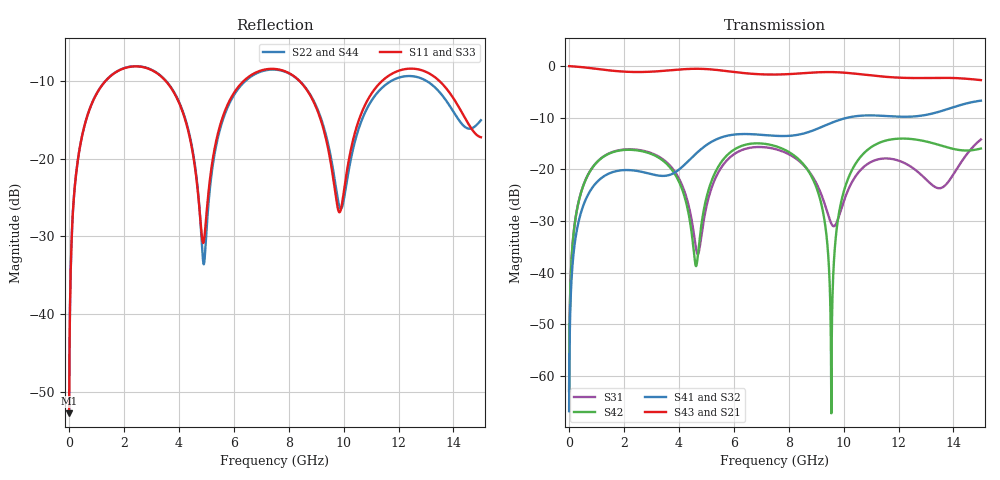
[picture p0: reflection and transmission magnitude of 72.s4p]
! Created with skrf 1.8.0 (http://scikit-rf.org).
# GHz S RI R 50.0
!freq ReS11 ImS11 ReS12 ImS12 ReS13 ImS13
! ReS14 ImS14
! ReS21 ImS21 ReS22 ImS22 ReS23 ImS23
! ReS24 ImS24
! ReS31 ImS31 ReS32 ImS32 ReS33 ImS33
! ReS34 ImS34
! ReS41 ImS41 ReS42 ImS42 ReS43 ImS43
! ReS44 ImS44
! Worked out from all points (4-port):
!   2499 points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, 5 MHz to 15 GHz, reference 50 ohm
!   strongest paths, dB at 5 MHz, 3.476 GHz, 7.19 GHz, 11.1 GHz, 15 GHz:
!     S43: 0.0, -0.9, -1.6, -1.9, -2.7
!     S21: 0.0, -0.9, -1.6, -1.9, -2.7
!     S41: -66.8, -21.3, -13.4, -9.6, -6.7
!     S32: -66.8, -21.3, -13.4, -9.6, -6.7
!     S42: -62.9, -18.5, -15.1, -15.4, -16.0
!     S31: -62.9, -18.3, -15.7, -18.3, -14.2
!   lowest |S11| = -52.8 dB at 5 MHz (marker M1), VSWR 1.00, Z = 50.2 + j0.14 ohm
!   |S11| at or under -10 dB: 3.523 GHz to 6.362 GHz (2.839 GHz wide, 57.4 % of centre); 8.393 GHz to 11.4 GHz (3.007 GHz wide, 30.4 % of centre); 13.49 GHz to end of sweep (the widest 3 of 4)
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0.005  0.00183 0.00139  0.9981 -0.00356  9.19e-05 0.00071  -8.93e-05 -0.000448
       0.9981 -0.00356  0.00183 0.00139  -8.93e-05 -0.000448  9.18e-05 0.00071
       9.19e-05 0.00071  -8.93e-05 -0.000448  0.00183 0.00139  0.9981 -0.00356
       -8.93e-05 -0.000448  9.18e-05 0.00071  0.9981 -0.00356  0.00183 0.00139
1.77574  0.3421 0.1309  0.3626 -0.8151  0.1497 0.0287  -0.0937 0.0248
         0.3626 -0.8151  0.3433 0.1296  -0.0935 0.0245  0.1472 0.0344
         0.1497 0.0287  -0.0935 0.0245  0.3421 0.1308  0.3626 -0.8151
         -0.0937 0.0248  0.1472 0.0344  0.3626 -0.8151  0.3431 0.1297
5.052105  0.0346 0.0415  -0.9334 0.0311  0.0032 0.0493  0.0146 0.1749
          -0.9334 0.0311  0.0258 0.0364  0.0115 0.1751  0.0325 0.0497
          0.0032 0.0493  0.0115 0.1751  0.0332 0.0422  -0.9334 0.0313
          0.0146 0.1749  0.0325 0.0497  -0.9334 0.0313  0.0272 0.0367
8.397249  0.2754 -0.1544  0.3831 0.757  0.0539 -0.1068  0.1706 -0.1355
          0.3831 0.757  0.279 -0.1487  0.1739 -0.1291  0.058 -0.1083
          0.0539 -0.1068  0.1739 -0.1291  0.2752 -0.156  0.3829 0.7571
          0.1706 -0.1355  0.058 -0.1083  0.3829 0.7571  0.2791 -0.1467
9.553981  0.0589 -0.0673  0.8222 0.2994  -0.0295 -0.00456  0.0845 -0.2689
          0.8222 0.2994  0.0641 -0.0747  0.0941 -0.2657  -0.000265 0.000345
          -0.0295 -0.00456  0.0941 -0.2657  0.0548 -0.0673  0.8223 0.2995
          0.0845 -0.2689  -0.000265 0.000345  0.8223 0.2995  0.0673 -0.0726
10.67945  0.137 0.1485  0.7667 -0.3192  0.0801 0.0639  -0.1591 -0.2911
          0.7667 -0.3192  0.1238 0.1309  -0.1485 -0.2964  0.1329 0.0373
          0.0801 0.0639  -0.1485 -0.2964  0.1342 0.1537  0.7662 -0.3191
          -0.1591 -0.2911  0.1329 0.0373  0.7662 -0.3191  0.128 0.1302
15  0.1346 -0.0273  -0.7283 -0.0711  0.041 0.1907  -0.0266 0.4619
    -0.7283 -0.0711  0.1717 0.0418  -0.0483 0.4599  -0.0547 0.1494
    0.041 0.1907  -0.0483 0.4599  0.1373 -0.0261  -0.7279 -0.0748
    -0.0266 0.4619  -0.0547 0.1494  -0.7279 -0.0748  0.1734 0.0322
